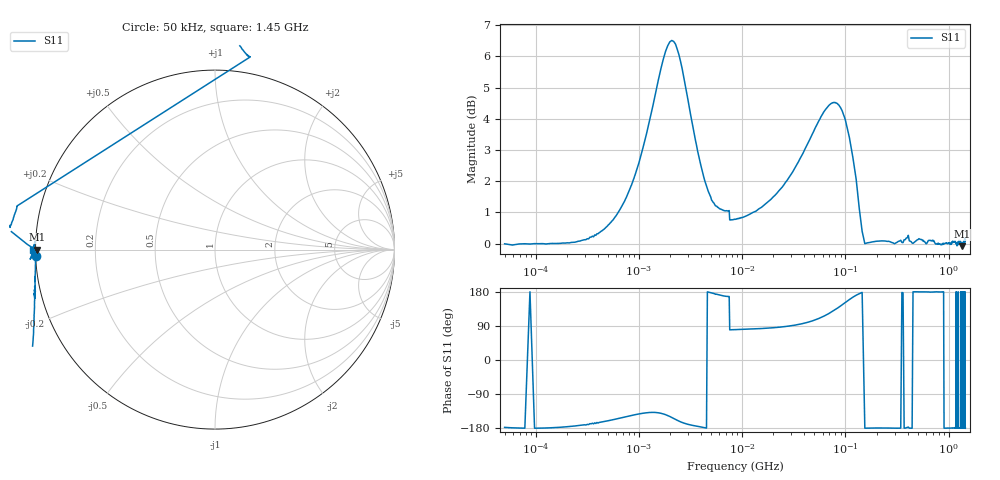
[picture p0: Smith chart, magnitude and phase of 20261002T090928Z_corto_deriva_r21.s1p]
! piloto_deriva / corto_deriva / r21
# HZ S RI R 50
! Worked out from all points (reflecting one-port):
!   501 points, 50 kHz to 1.45 GHz, reference 50 ohm
!   lowest |S11| = -0.1 dB at 1.347 GHz (marker M1), VSWR 212.15, Z = 0.236 - j0.00674 ohm
!   phase of S11 starts at -178 deg and turns -2 deg over the sweep
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50000  -0.9986 -0.0378
183000  -1.001 -0.0515
382500  -1.006 -0.2239
658000  -1.014 -0.5112
1180000  -1.135 -0.9755
1630000  -1.472 -1.21
1990000  -1.806 -1.082
2170000  -1.9 -0.9138
2440000  -1.901 -0.6449
3070000  -1.632 -0.2687
4330000  -1.262 -0.0316
7300000  -1.102 0.241
7750000  0.1941 1.074
8560000  0.1875 1.078
1.9e7  0.109 1.173
3.16e7  -0.0355 1.312
4.69e7  -0.3234 1.454
6.76e7  -0.8605 1.417
7.93e7  -1.14 1.238
9.37e7  -1.355 0.8995
9.82e7  -1.385 0.7839
1e8  -1.391 0.7394
1.18e8  -1.332 0.3376
1.36e8  -1.134 0.1
1.63e8  -1.003 -0.00415
4.06e8  -1.03 -0.0536
1.3465e9  -0.9906 -0.000267
1.45e9  -1.013 -0.000414
